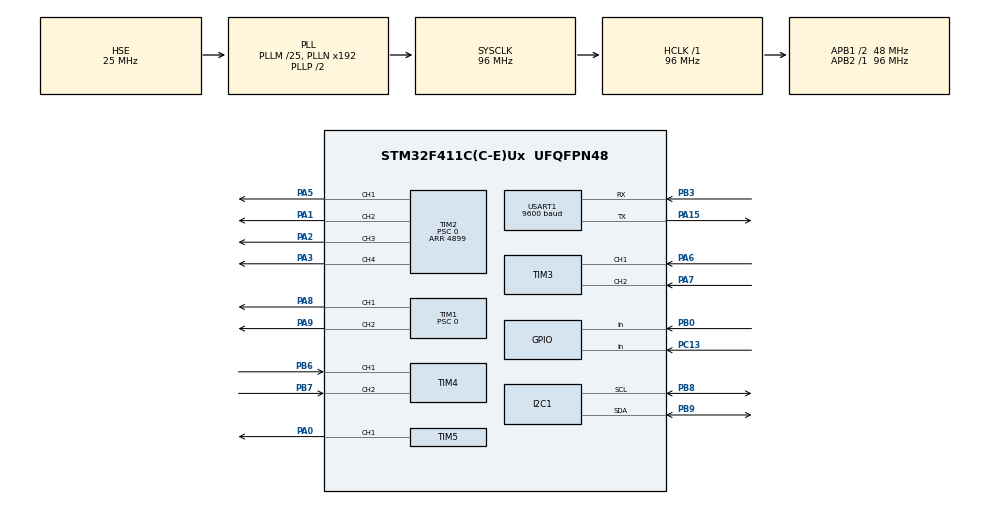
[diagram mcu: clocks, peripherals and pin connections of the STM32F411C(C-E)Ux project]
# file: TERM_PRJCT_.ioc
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I2C1.I2C_Mode=I2C_Fast
Mcu.Family=STM32F4
Mcu.Name=STM32F411C(C-E)Ux
Mcu.Package=UFQFPN48
NVIC.PriorityGroup=NVIC_PRIORITYGROUP_4
NVIC.USART1_IRQn=true\:0\:0\:false\:false\:true\:true\:true\:true
PA0-WKUP.Signal=S_TIM5_CH1
PA1.Signal=S_TIM2_CH2
PA15.Mode=Asynchronous
PA15.Signal=USART1_TX
PA2.Signal=S_TIM2_CH3
PA3.Signal=S_TIM2_CH4
PA5.Signal=S_TIM2_CH1_ETR
PA6.Signal=S_TIM3_CH1
PA7.Signal=S_TIM3_CH2
PA8.Signal=S_TIM1_CH1
PA9.Signal=S_TIM1_CH2
PB0.Signal=GPIO_Input
PB3.Mode=Asynchronous
PB3.Signal=USART1_RX
PB6.Signal=S_TIM4_CH1
PB7.Signal=S_TIM4_CH2
PB8.GPIO_Pu=GPIO_PULLUP
PB8.Mode=I2C
PB8.Signal=I2C1_SCL
PB9.GPIO_Pu=GPIO_PULLUP
PB9.Mode=I2C
PB9.Signal=I2C1_SDA
PC13-ANTI_TAMP.Signal=GPIO_Input
PH0\ -\ OSC_IN.Mode=HSE-External-Oscillator
PH0\ -\ OSC_IN.Signal=RCC_OSC_IN
PH1\ -\ OSC_OUT.Mode=HSE-External-Oscillator
PH1\ -\ OSC_OUT.Signal=RCC_OSC_OUT
ProjectManager.HeapSize=0x200
ProjectManager.StackSize=0x400
ProjectManager.TargetToolchain=STM32CubeIDE
RCC.48MHZClocksFreq_Value=48000000
RCC.AHBFreq_Value=96000000
RCC.APB1CLKDivider=RCC_HCLK_DIV2
RCC.APB1Freq_Value=48000000
RCC.APB1TimFreq_Value=96000000
RCC.APB2Freq_Value=96000000
RCC.APB2TimFreq_Value=96000000
RCC.CortexFreq_Value=96000000
RCC.HCLKFreq_Value=96000000
RCC.HSE_VALUE=25000000
RCC.HSI_VALUE=16000000
RCC.LSE_VALUE=32768
RCC.PLLM=25
RCC.PLLSourceVirtual=RCC_PLLSOURCE_HSE
RCC.SYSCLKFreq_VALUE=96000000
RCC.SYSCLKSource=RCC_SYSCLKSOURCE_PLLCLK
RCC.VCOOutputFreq_Value=192000000
SH.S_TIM1_CH1.0=TIM1_CH1,PWM Generation1 CH1
SH.S_TIM1_CH2.0=TIM1_CH2,PWM Generation2 CH2
SH.S_TIM2_CH1_ETR.0=TIM2_CH1,PWM Generation1 CH1
SH.S_TIM2_CH2.0=TIM2_CH2,PWM Generation2 CH2
SH.S_TIM2_CH3.0=TIM2_CH3,PWM Generation3 CH3
SH.S_TIM2_CH4.0=TIM2_CH4,PWM Generation4 CH4
SH.S_TIM3_CH1.0=TIM3_CH1,Encoder_Interface
SH.S_TIM3_CH2.0=TIM3_CH2,Encoder_Interface
SH.S_TIM4_CH1.0=TIM4_CH1,Encoder_Interface
SH.S_TIM4_CH2.0=TIM4_CH2,Encoder_Interface
SH.S_TIM5_CH1.0=TIM5_CH1,PWM Generation1 CH1
TIM1.Channel-PWM\ Generation1\ CH1=TIM_CHANNEL_1
TIM1.Channel-PWM\ Generation2\ CH2=TIM_CHANNEL_2
TIM1.Period=4899
TIM1.Prescaler=0
TIM2.Channel-PWM\ Generation1\ CH1=TIM_CHANNEL_1
TIM2.Channel-PWM\ Generation2\ CH2=TIM_CHANNEL_2
TIM2.Channel-PWM\ Generation3\ CH3=TIM_CHANNEL_3
TIM2.Channel-PWM\ Generation4\ CH4=TIM_CHANNEL_4
TIM2.Period=4899
TIM2.Prescaler=0
TIM5.Channel-PWM\ Generation1\ CH1=TIM_CHANNEL_1
TIM5.Period=19999
TIM5.Prescaler=95
USART1.BaudRate=9600
USART1.VirtualMode=VM_ASYNC
board=custom

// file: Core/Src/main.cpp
/* USER CODE BEGIN Header */
/**
  ******************************************************************************
  * @file           : main.c
  * @brief          : Main program body
  ******************************************************************************
  * @attention
  *
  * Copyright (c) 2023 STMicroelectronics.
  * All rights reserved.
  *
  * This software is licensed under terms that can be found in the LICENSE file
  * in the root directory of this software component.
  * If no LICENSE file comes with this software, it is provided AS-IS.
  *
  ******************************************************************************
  */
/* USER CODE END Header */
#include "main.h"
#include "motor_driver.h"
#include "BNO055.h"
#include "movement_task.h"
#include "sorting_task.h"
#include "motor_driver.h"
#include "controller_driver.h"
#include "servo_driver.h"
#include "encoder_driver.h"
/* USER CODE BEGIN Includes */
#include <stdio.h>
/* USER CODE END Includes */

/* USER CODE BEGIN PTD */
char inp_buffer [50] = {0};
char char_buffer;
char buffer [100] = {0};
int32_t COUNT_1 = 0;
int32_t COUNT_2 = 0;
int16_t duty_cycle_1 = 5000;
int16_t duty_cycle_2 = -5000;
int16_t duty_cycle_flywheel = 5000;

int32_t SP1 = 1000;
int32_t SP2 = 1000;

int16_t KP = 20;
int16_t ANGLE = 0;
/* USER CODE END PTD */

I2C_HandleTypeDef hi2c1;
TIM_HandleTypeDef htim1;
TIM_HandleTypeDef htim2;
TIM_HandleTypeDef htim3;
TIM_HandleTypeDef htim4;
TIM_HandleTypeDef htim5;

UART_HandleTypeDef huart1;

void SystemClock_Config(void);
static void MX_GPIO_Init(void);
static void MX_TIM2_Init(void);
static void MX_USART1_UART_Init(void);
static void MX_TIM3_Init(void);
static void MX_TIM4_Init(void);
static void MX_TIM1_Init(void);
static void MX_TIM5_Init(void);
static void MX_I2C1_Init(void);

int main(void)
{

  /* MCU Configuration--------------------------------------------------------*/

  /* Reset of all peripherals, Initializes the Flash interface and the Systick. */
  HAL_Init();

  /* Configure the system clock */
  SystemClock_Config();

  /* Initialize all configured peripherals */
  MX_GPIO_Init();
  MX_TIM2_Init();
  MX_USART1_UART_Init();
  MX_TIM3_Init();
  MX_TIM4_Init();
  MX_TIM1_Init();
  MX_TIM5_Init();
  MX_I2C1_Init();
  /* USER CODE BEGIN 2 */
  HAL_UART_Receive_IT(&huart1, (uint8_t*) &char_buffer, 1);	// Initialize UART Receive
           encoder_reader ENCD1 = encoder_reader(&htim3); //A6 A7
           // Encoder 1 is the Left Rear Wheel
           encoder_reader ENCD2 = encoder_reader(&htim4); //B6 B7
           // Encoder 2 is the right rear Wheel
           motor_driver MOTOR_1 = motor_driver(&htim2, TIM_CHANNEL_1, TIM_CHANNEL_2);		// Initialize the motor driver object as MOTOR_1
           // Motor Driver 1 is The Left Rear Wheel
           // A5 A1
           motor_driver MOTOR_2 = motor_driver(&htim2, TIM_CHANNEL_3, TIM_CHANNEL_4);		// Initialize the motor driver object as MOTOR_2
           // Motor Driver 2 is The Right Rear Wheel
           // A2 A3
           feedback_controller controller_1 = feedback_controller();
           feedback_controller controller_2 = feedback_controller();
           motor_driver FLYWHEEL = motor_driver(&htim1, TIM_CHANNEL_1, TIM_CHANNEL_2); // A8 A9

           controller_1.set_KP(KP);
           controller_2.set_KP(KP);

           //controller_1.set_setpoint(SP1);
           //controller_2.set_setpoint(SP2);

         //  BNO055_imu IMU = BNO055_imu(&hi2c1);

           servo_driver SERVO1 = servo_driver(&htim5,TIM_CHANNEL_1);

           movement_task task1 = movement_task(MOTOR_1, MOTOR_2, ENCD1, ENCD2, controller_1, controller_2, &huart1);
           sort_task	task2 = sort_task(SERVO1, &huart1,&hi2c1);

  /* USER CODE END 2 */

  /* Infinite loop */
  while (1)
  {

	  	task1.run();
	  	task2.run();

  }
}

void SystemClock_Config(void)
{
  RCC_OscInitTypeDef RCC_OscInitStruct = {0};
  RCC_ClkInitTypeDef RCC_ClkInitStruct = {0};

  /** Configure the main internal regulator output voltage
  */
  __HAL_RCC_PWR_CLK_ENABLE();
  __HAL_PWR_VOLTAGESCALING_CONFIG(PWR_REGULATOR_VOLTAGE_SCALE1);

  /** Initializes the RCC Oscillators according to the specified parameters
  * in the RCC_OscInitTypeDef structure.
  */
  RCC_OscInitStruct.OscillatorType = RCC_OSCILLATORTYPE_HSE;
  RCC_OscInitStruct.HSEState = RCC_HSE_ON;
  RCC_OscInitStruct.PLL.PLLState = RCC_PLL_ON;
  RCC_OscInitStruct.PLL.PLLSource = RCC_PLLSOURCE_HSE;
  RCC_OscInitStruct.PLL.PLLM = 25;
  RCC_OscInitStruct.PLL.PLLN = 192;
  RCC_OscInitStruct.PLL.PLLP = RCC_PLLP_DIV2;
  RCC_OscInitStruct.PLL.PLLQ = 4;
  if (HAL_RCC_OscConfig(&RCC_OscInitStruct) != HAL_OK)
  {
    Error_Handler();
  }

  /** Initializes the CPU, AHB and APB buses clocks
  */
  RCC_ClkInitStruct.ClockType = RCC_CLOCKTYPE_HCLK|RCC_CLOCKTYPE_SYSCLK
                              |RCC_CLOCKTYPE_PCLK1|RCC_CLOCKTYPE_PCLK2;
  RCC_ClkInitStruct.SYSCLKSource = RCC_SYSCLKSOURCE_PLLCLK;
  RCC_ClkInitStruct.AHBCLKDivider = RCC_SYSCLK_DIV1;
  RCC_ClkInitStruct.APB1CLKDivider = RCC_HCLK_DIV2;
  RCC_ClkInitStruct.APB2CLKDivider = RCC_HCLK_DIV1;

  if (HAL_RCC_ClockConfig(&RCC_ClkInitStruct, FLASH_LATENCY_3) != HAL_OK)
  {
    Error_Handler();
  }
}

static void MX_I2C1_Init(void)
{

  hi2c1.Instance = I2C1;
  hi2c1.Init.ClockSpeed = 400000;
  hi2c1.Init.DutyCycle = I2C_DUTYCYCLE_2;
  hi2c1.Init.OwnAddress1 = 0;
  hi2c1.Init.AddressingMode = I2C_ADDRESSINGMODE_7BIT;
  hi2c1.Init.DualAddressMode = I2C_DUALADDRESS_DISABLE;
  hi2c1.Init.OwnAddress2 = 0;
  hi2c1.Init.GeneralCallMode = I2C_GENERALCALL_DISABLE;
  hi2c1.Init.NoStretchMode = I2C_NOSTRETCH_DISABLE;
  if (HAL_I2C_Init(&hi2c1) != HAL_OK)
  {
    Error_Handler();
  }
}

static void MX_TIM1_Init(void)
{

  TIM_MasterConfigTypeDef sMasterConfig = {0};
  TIM_OC_InitTypeDef sConfigOC = {0};
  TIM_BreakDeadTimeConfigTypeDef sBreakDeadTimeConfig = {0};

  htim1.Instance = TIM1;
  htim1.Init.Prescaler = 0;
  htim1.Init.CounterMode = TIM_COUNTERMODE_UP;
  htim1.Init.Period = 4899;
  htim1.Init.ClockDivision = TIM_CLOCKDIVISION_DIV1;
  htim1.Init.RepetitionCounter = 0;
  htim1.Init.AutoReloadPreload = TIM_AUTORELOAD_PRELOAD_DISABLE;
  if (HAL_TIM_PWM_Init(&htim1) != HAL_OK)
  {
    Error_Handler();
  }
  sMasterConfig.MasterOutputTrigger = TIM_TRGO_RESET;
  sMasterConfig.MasterSlaveMode = TIM_MASTERSLAVEMODE_DISABLE;
  if (HAL_TIMEx_MasterConfigSynchronization(&htim1, &sMasterConfig) != HAL_OK)
  {
    Error_Handler();
  }
  sConfigOC.OCMode = TIM_OCMODE_PWM1;
  sConfigOC.Pulse = 0;
  sConfigOC.OCPolarity = TIM_OCPOLARITY_HIGH;
  sConfigOC.OCNPolarity = TIM_OCNPOLARITY_HIGH;
  sConfigOC.OCFastMode = TIM_OCFAST_DISABLE;
  sConfigOC.OCIdleState = TIM_OCIDLESTATE_RESET;
  sConfigOC.OCNIdleState = TIM_OCNIDLESTATE_RESET;
  if (HAL_TIM_PWM_ConfigChannel(&htim1, &sConfigOC, TIM_CHANNEL_1) != HAL_OK)
  {
    Error_Handler();
  }
  if (HAL_TIM_PWM_ConfigChannel(&htim1, &sConfigOC, TIM_CHANNEL_2) != HAL_OK)
  {
    Error_Handler();
  }
  sBreakDeadTimeConfig.OffStateRunMode = TIM_OSSR_DISABLE;
  sBreakDeadTimeConfig.OffStateIDLEMode = TIM_OSSI_DISABLE;
  sBreakDeadTimeConfig.LockLevel = TIM_LOCKLEVEL_OFF;
  sBreakDeadTimeConfig.DeadTime = 0;
  sBreakDeadTimeConfig.BreakState = TIM_BREAK_DISABLE;
  sBreakDeadTimeConfig.BreakPolarity = TIM_BREAKPOLARITY_HIGH;
  sBreakDeadTimeConfig.AutomaticOutput = TIM_AUTOMATICOUTPUT_DISABLE;
  if (HAL_TIMEx_ConfigBreakDeadTime(&htim1, &sBreakDeadTimeConfig) != HAL_OK)
  {
    Error_Handler();
  }
  HAL_TIM_MspPostInit(&htim1);

}

static void MX_TIM2_Init(void)
{

  TIM_MasterConfigTypeDef sMasterConfig = {0};
  TIM_OC_InitTypeDef sConfigOC = {0};

  htim2.Instance = TIM2;
  htim2.Init.Prescaler = 0;
  htim2.Init.CounterMode = TIM_COUNTERMODE_UP;
  htim2.Init.Period = 4899;
  htim2.Init.ClockDivision = TIM_CLOCKDIVISION_DIV1;
  htim2.Init.AutoReloadPreload = TIM_AUTORELOAD_PRELOAD_DISABLE;
  if (HAL_TIM_PWM_Init(&htim2) != HAL_OK)
  {
    Error_Handler();
  }
  sMasterConfig.MasterOutputTrigger = TIM_TRGO_RESET;
  sMasterConfig.MasterSlaveMode = TIM_MASTERSLAVEMODE_DISABLE;
  if (HAL_TIMEx_MasterConfigSynchronization(&htim2, &sMasterConfig) != HAL_OK)
  {
    Error_Handler();
  }
  sConfigOC.OCMode = TIM_OCMODE_PWM1;
  sConfigOC.Pulse = 0;
  sConfigOC.OCPolarity = TIM_OCPOLARITY_HIGH;
  sConfigOC.OCFastMode = TIM_OCFAST_DISABLE;
  if (HAL_TIM_PWM_ConfigChannel(&htim2, &sConfigOC, TIM_CHANNEL_1) != HAL_OK)
  {
    Error_Handler();
  }
  if (HAL_TIM_PWM_ConfigChannel(&htim2, &sConfigOC, TIM_CHANNEL_2) != HAL_OK)
  {
    Error_Handler();
  }
  if (HAL_TIM_PWM_ConfigChannel(&htim2, &sConfigOC, TIM_CHANNEL_3) != HAL_OK)
  {
    Error_Handler();
  }
  if (HAL_TIM_PWM_ConfigChannel(&htim2, &sConfigOC, TIM_CHANNEL_4) != HAL_OK)
  {
    Error_Handler();
  }
  HAL_TIM_MspPostInit(&htim2);

}

static void MX_TIM3_Init(void)
{

  TIM_Encoder_InitTypeDef sConfig = {0};
  TIM_MasterConfigTypeDef sMasterConfig = {0};

  htim3.Instance = TIM3;
  htim3.Init.Prescaler = 0;
  htim3.Init.CounterMode = TIM_COUNTERMODE_UP;
  htim3.Init.Period = 65535;
  htim3.Init.ClockDivision = TIM_CLOCKDIVISION_DIV1;
  htim3.Init.AutoReloadPreload = TIM_AUTORELOAD_PRELOAD_DISABLE;
  sConfig.EncoderMode = TIM_ENCODERMODE_TI1;
  sConfig.IC1Polarity = TIM_ICPOLARITY_RISING;
  sConfig.IC1Selection = TIM_ICSELECTION_DIRECTTI;
  sConfig.IC1Prescaler = TIM_ICPSC_DIV1;
  sConfig.IC1Filter = 0;
  sConfig.IC2Polarity = TIM_ICPOLARITY_RISING;
  sConfig.IC2Selection = TIM_ICSELECTION_DIRECTTI;
  sConfig.IC2Prescaler = TIM_ICPSC_DIV1;
  sConfig.IC2Filter = 0;
  if (HAL_TIM_Encoder_Init(&htim3, &sConfig) != HAL_OK)
  {
    Error_Handler();
  }
  sMasterConfig.MasterOutputTrigger = TIM_TRGO_RESET;
  sMasterConfig.MasterSlaveMode = TIM_MASTERSLAVEMODE_DISABLE;
  if (HAL_TIMEx_MasterConfigSynchronization(&htim3, &sMasterConfig) != HAL_OK)
  {
    Error_Handler();
  }

}

static void MX_TIM4_Init(void)
{

  TIM_Encoder_InitTypeDef sConfig = {0};
  TIM_MasterConfigTypeDef sMasterConfig = {0};

  htim4.Instance = TIM4;
  htim4.Init.Prescaler = 0;
  htim4.Init.CounterMode = TIM_COUNTERMODE_UP;
  htim4.Init.Period = 65535;
  htim4.Init.ClockDivision = TIM_CLOCKDIVISION_DIV1;
  htim4.Init.AutoReloadPreload = TIM_AUTORELOAD_PRELOAD_DISABLE;
  sConfig.EncoderMode = TIM_ENCODERMODE_TI1;
  sConfig.IC1Polarity = TIM_ICPOLARITY_RISING;
  sConfig.IC1Selection = TIM_ICSELECTION_DIRECTTI;
  sConfig.IC1Prescaler = TIM_ICPSC_DIV1;
  sConfig.IC1Filter = 0;
  sConfig.IC2Polarity = TIM_ICPOLARITY_RISING;
  sConfig.IC2Selection = TIM_ICSELECTION_DIRECTTI;
  sConfig.IC2Prescaler = TIM_ICPSC_DIV1;
  sConfig.IC2Filter = 0;
  if (HAL_TIM_Encoder_Init(&htim4, &sConfig) != HAL_OK)
  {
    Error_Handler();
  }
  sMasterConfig.MasterOutputTrigger = TIM_TRGO_RESET;
  sMasterConfig.MasterSlaveMode = TIM_MASTERSLAVEMODE_DISABLE;
  if (HAL_TIMEx_MasterConfigSynchronization(&htim4, &sMasterConfig) != HAL_OK)
  {
    Error_Handler();
  }

}

static void MX_TIM5_Init(void)
{

  TIM_MasterConfigTypeDef sMasterConfig = {0};
  TIM_OC_InitTypeDef sConfigOC = {0};

  htim5.Instance = TIM5;
  htim5.Init.Prescaler = 95;
  htim5.Init.CounterMode = TIM_COUNTERMODE_UP;
  htim5.Init.Period = 19999;
  htim5.Init.ClockDivision = TIM_CLOCKDIVISION_DIV1;
  htim5.Init.AutoReloadPreload = TIM_AUTORELOAD_PRELOAD_DISABLE;
  if (HAL_TIM_PWM_Init(&htim5) != HAL_OK)
  {
    Error_Handler();
  }
  sMasterConfig.MasterOutputTrigger = TIM_TRGO_RESET;
  sMasterConfig.MasterSlaveMode = TIM_MASTERSLAVEMODE_DISABLE;
  if (HAL_TIMEx_MasterConfigSynchronization(&htim5, &sMasterConfig) != HAL_OK)
  {
    Error_Handler();
  }
  sConfigOC.OCMode = TIM_OCMODE_PWM1;
  sConfigOC.Pulse = 0;
  sConfigOC.OCPolarity = TIM_OCPOLARITY_HIGH;
  sConfigOC.OCFastMode = TIM_OCFAST_DISABLE;
  if (HAL_TIM_PWM_ConfigChannel(&htim5, &sConfigOC, TIM_CHANNEL_1) != HAL_OK)
  {
    Error_Handler();
  }
  HAL_TIM_MspPostInit(&htim5);

}

static void MX_USART1_UART_Init(void)
{

  huart1.Instance = USART1;
  huart1.Init.BaudRate = 9600;
  huart1.Init.WordLength = UART_WORDLENGTH_8B;
  huart1.Init.StopBits = UART_STOPBITS_1;
  huart1.Init.Parity = UART_PARITY_NONE;
  huart1.Init.Mode = UART_MODE_TX_RX;
  huart1.Init.HwFlowCtl = UART_HWCONTROL_NONE;
  huart1.Init.OverSampling = UART_OVERSAMPLING_16;
  if (HAL_UART_Init(&huart1) != HAL_OK)
  {
    Error_Handler();
  }

}

static void MX_GPIO_Init(void)
{
  GPIO_InitTypeDef GPIO_InitStruct = {0};

  /* GPIO Ports Clock Enable */
  __HAL_RCC_GPIOC_CLK_ENABLE();
  __HAL_RCC_GPIOH_CLK_ENABLE();
  __HAL_RCC_GPIOA_CLK_ENABLE();
  __HAL_RCC_GPIOB_CLK_ENABLE();

  /*Configure GPIO pin : PC13 */
  GPIO_InitStruct.Pin = GPIO_PIN_13;
  GPIO_InitStruct.Mode = GPIO_MODE_INPUT;
  GPIO_InitStruct.Pull = GPIO_NOPULL;
  HAL_GPIO_Init(GPIOC, &GPIO_InitStruct);

  /*Configure GPIO pin : PB0 */
  GPIO_InitStruct.Pin = GPIO_PIN_0;
  GPIO_InitStruct.Mode = GPIO_MODE_INPUT;
  GPIO_InitStruct.Pull = GPIO_PULLUP;
  HAL_GPIO_Init(GPIOB, &GPIO_InitStruct);

}

void Error_Handler(void)
{
  __disable_irq();
  while (1)
  {
  }
}
